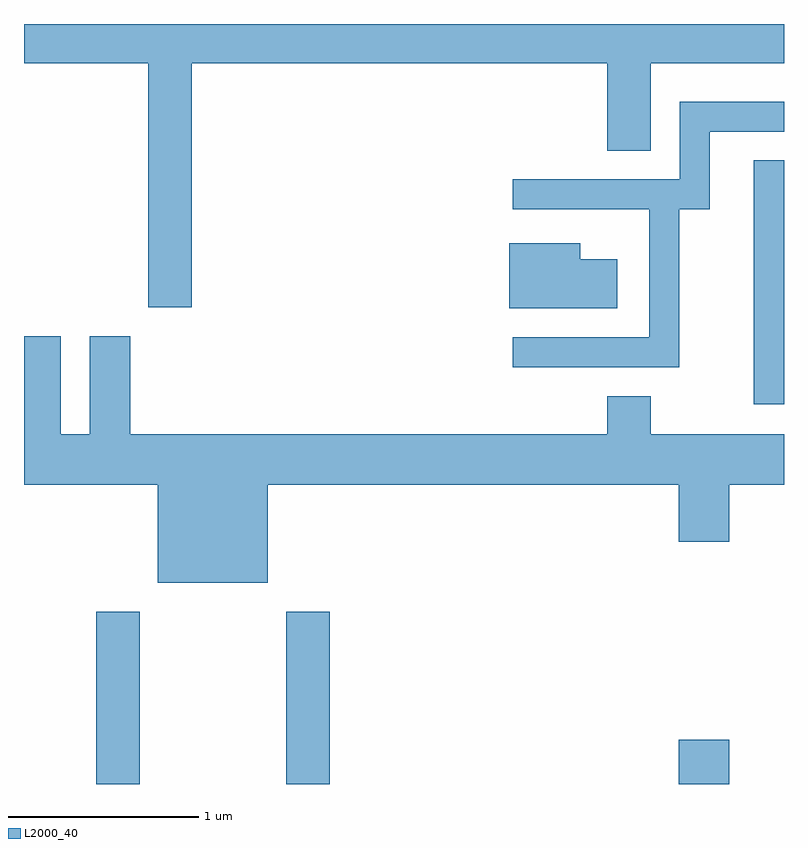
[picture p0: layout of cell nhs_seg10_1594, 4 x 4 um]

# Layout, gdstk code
import gdstk
lib = gdstk.Library(unit=1e-6, precision=1e-09)
def R(c, l, rs):  # rectangles x0, y0, x1, y1
    for r in rs: c.add(gdstk.rectangle(r[:2], r[2:], *l))
def P(c, l, *ps):  # polygons
    for p in ps: c.add(gdstk.Polygon(p, *l))
L2000_40 = (2000, 40)

nhs_seg10_1594 = lib.new_cell('nhs_seg10_1594')
R(nhs_seg10_1594, L2000_40, [(231.991,2154.522,232.219,2155.429), (232.991,2154.522,233.219,2155.429), (235.056,2154.522,235.324,2154.754), (235.451,2156.521,235.611,2157.804)])
P(nhs_seg10_1594, L2000_40, [(234.681,2157.856),(234.909,2157.856),(234.909,2158.316),(235.611,2158.316),(235.611,2158.522),(231.611,2158.522),(231.611,2158.316),(232.266,2158.316),(232.266,2157.031),(232.494,2157.031),(232.494,2158.316),(234.681,2158.316)],
  [(235.059,2157.546),(235.219,2157.546),(235.219,2157.956),(235.611,2157.956),(235.611,2158.114),(235.061,2158.114),(235.061,2157.704),(234.183,2157.704),(234.183,2157.546),(234.901,2157.546),(234.901,2156.874),(234.183,2156.874),(234.183,2156.716),(235.059,2156.716)],
  [(234.734,2157.284),(234.539,2157.284),(234.539,2157.369),(234.166,2157.369),(234.166,2157.026),(234.734,2157.026)],
  [(232.894,2156.096),(235.056,2156.096),(235.056,2155.796),(235.324,2155.796),(235.324,2156.096),(235.611,2156.096),(235.611,2156.364),(234.909,2156.364),(234.909,2156.564),(234.681,2156.564),(234.681,2156.364),(232.169,2156.364),(232.169,2156.879),(231.956,2156.879),(231.956,2156.364),(231.804,2156.364),(231.804,2156.879),(231.611,2156.879),(231.611,2156.096),(232.316,2156.096),(232.316,2155.581),(232.894,2155.581)])

lib.write_gds('nhs_seg10_1594.gds')
